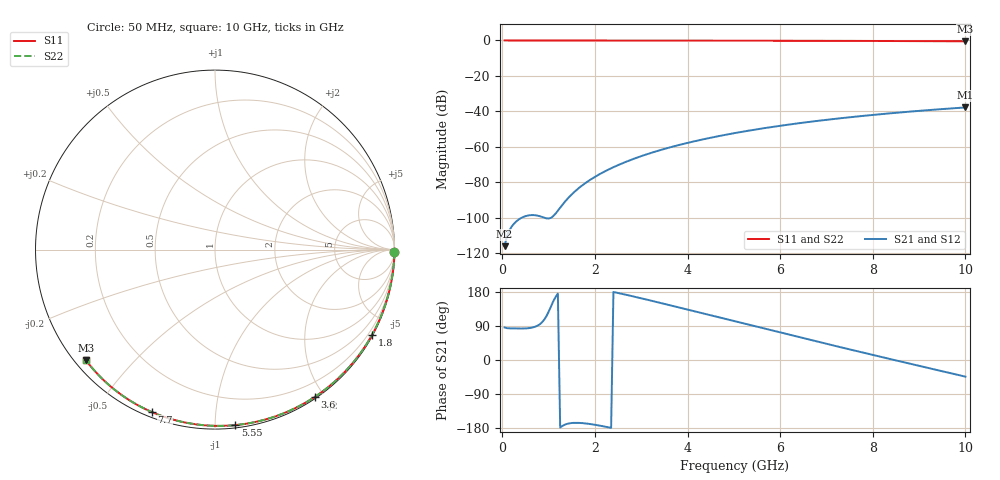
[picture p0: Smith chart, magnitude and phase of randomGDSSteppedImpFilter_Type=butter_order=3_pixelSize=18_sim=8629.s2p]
! freq	dB(S11)	phase(S11)	dB(S12)	phase(S12)
!  dB(S21)	phase(S21)	dB(S22)	phase(S22)
!S-par simulation data
#  GHz  S  DB  R 50
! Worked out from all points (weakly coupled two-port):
!   200 points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, 50 MHz to 10 GHz, reference 50 ohm
!   highest |S21| = -37.79 dB at 10 GHz (marker M1); lowest = -116.1 dB at 50 MHz (marker M2)
!   lowest |S11| = -0.5 dB at 10 GHz (marker M3), VSWR 36.82, Z = 1.54 - j18.5 ohm
!   |S11| at or under -10 dB: nowhere
!   |S22| runs from -0.5 to 0.0 dB; largest |S21 - S12| = 0
!   S11 on the Smith chart (normalised r, x): 50 MHz: open; 1.8 GHz: 0.03, -3.92; 3.6 GHz: 0.02, -1.88; 5.55 GHz: 0.02, -1.12; 7.7 GHz: 0.02, -0.68; 10 GHz: 0.03, -0.37
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0.05  -0.00 -0.8  -116.07 85.8  -116.07 85.8  -0.00 -0.8
0.45  -0.01 -7.3  -99.62 83.1  -99.62 83.1  -0.01 -7.3
0.9  -0.02 -14.5  -99.96 105.6  -99.96 105.6  -0.02 -14.5
1.75  -0.04 -27.9  -81.31 -166.8  -81.31 -166.8  -0.04 -27.9
1.8  -0.04 -28.7  -80.36 -167.4  -80.36 -167.4  -0.04 -28.7
1.85  -0.04 -29.4  -79.46 -168.2  -79.46 -168.2  -0.04 -29.4
2.05  -0.04 -32.5  -76.21 -172.0  -76.21 -172.0  -0.04 -32.5
2.2  -0.04 -34.9  -74.07 -175.4  -74.07 -175.4  -0.04 -34.9
2.55  -0.05 -40.2  -69.77 175.5  -69.77 175.5  -0.05 -40.2
2.95  -0.06 -46.3  -65.73 164.3  -65.73 164.3  -0.06 -46.3
3.4  -0.07 -53.0  -61.95 151.1  -61.95 151.1  -0.07 -53.0
3.6  -0.08 -55.9  -60.47 145.1  -60.47 145.1  -0.08 -55.9
3.9  -0.08 -60.3  -58.43 136.1  -58.43 136.1  -0.08 -60.3
4.3  -0.09 -66.1  -55.99 124.0  -55.99 124.0  -0.09 -66.1
5.05  -0.12 -76.6  -52.11 101.2  -52.11 101.2  -0.12 -76.6
5.55  -0.14 -83.4  -49.92 86.1  -49.92 86.1  -0.14 -83.4
6.1  -0.16 -90.7  -47.78 69.5  -47.78 69.5  -0.16 -90.7
6.7  -0.19 -98.6  -45.72 51.6  -45.72 51.6  -0.19 -98.6
7.7  -0.25 -111.2  -42.80 22.1  -42.80 22.1  -0.25 -111.3
8.35  -0.31 -119.3  -41.17 3.3  -41.17 3.3  -0.31 -119.3
9.2  -0.38 -129.7  -39.31 -21.1  -39.31 -21.1  -0.38 -129.7
10  -0.47 -139.4  -37.79 -43.9  -37.79 -43.9  -0.47 -139.4
